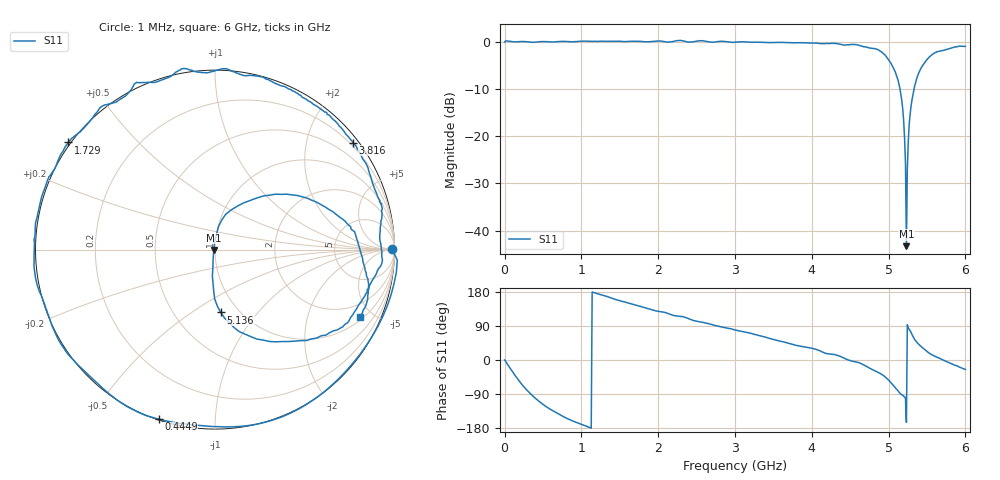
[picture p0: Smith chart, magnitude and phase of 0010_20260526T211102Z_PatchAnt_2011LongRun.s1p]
# Hz S RI R 50
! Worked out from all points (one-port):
!   501 points, 1 MHz to 6 GHz, reference 50 ohm
!   lowest |S11| = -43.3 dB at 5.232 GHz (marker M1), VSWR 1.01, Z = 49.3 - j0.182 ohm
!   |S11| at or under -10 dB: 5.149 GHz to 5.332 GHz (183.1 MHz wide, 3.49 % of centre)
!   S11 on the Smith chart (normalised r, x): 1 MHz: open; 444.9 MHz: 0.00, -0.72; 1.729 GHz: -0.01, +0.33; 3.816 GHz: 0.13, +2.92; 5.136 GHz: 0.83, -0.66; 6 GHz: 1.17, -4.20
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1000000  0.9883 0.000992
8.4986e7  0.9059 -0.4312
2.16964e8  0.4674 -0.8875
3.0095e8  0.1452 -0.9848
4.44926e8  -0.3147 -0.9444
7.56874e8  -0.8563 -0.5288
1.056824e9  -1.007 -0.1053
1.50075e9  -0.9256 0.4058
1.728712e9  -0.8175 0.5969
2.256624e9  -0.4469 0.9249
3.0005e9  0.1835 0.9696
3.756374e9  0.7368 0.6356
3.816364e9  0.7699 0.5956
4.308282e9  0.9323 0.2265
4.50025e9  0.9289 -0.0235
4.86019e9  0.6965 -0.4383
5.028162e9  0.3044 -0.512
5.136144e9  0.0321 -0.3501
5.184136e9  -0.0104 -0.1937
5.196134e9  -0.0147 -0.1459
5.208132e9  -0.0117 -0.0953
5.232128e9  -0.00662 -0.00184
5.256124e9  0.00826 0.0862
5.268122e9  0.0204 0.1306
5.304116e9  0.0922 0.2224
5.412098e9  0.3986 0.3088
5.628062e9  0.7772 0.1002
6e9  0.8062 -0.3759
